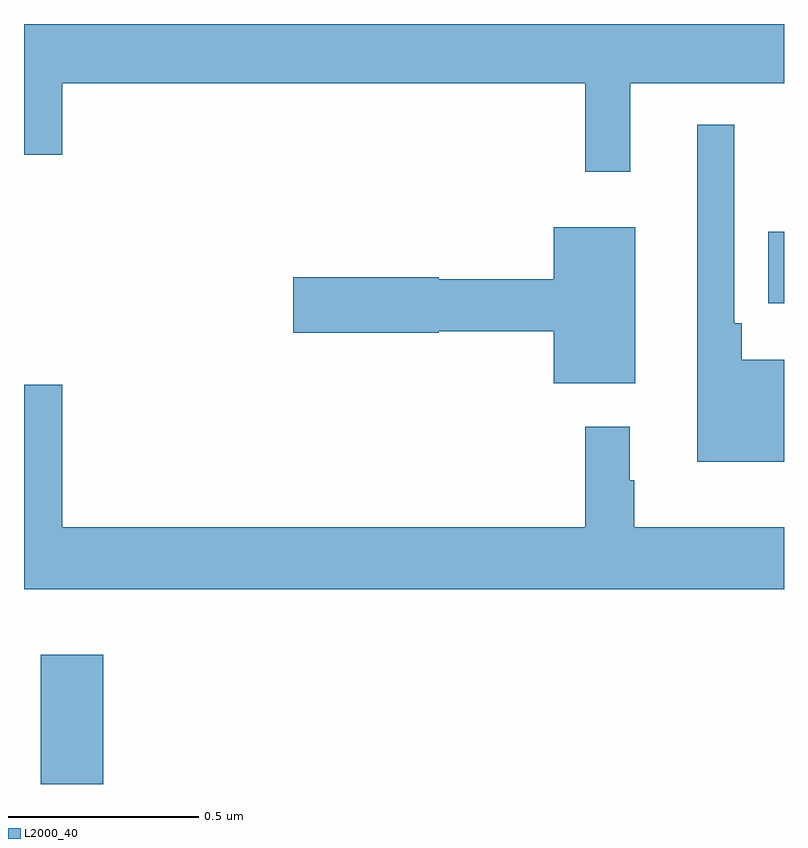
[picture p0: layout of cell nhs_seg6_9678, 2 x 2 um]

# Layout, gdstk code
import gdstk
lib = gdstk.Library(unit=1e-6, precision=1e-09)
def R(c, l, rs):  # rectangles x0, y0, x1, y1
    for r in rs: c.add(gdstk.rectangle(r[:2], r[2:], *l))
def P(c, l, *ps):  # polygons
    for p in ps: c.add(gdstk.Polygon(p, *l))
L2000_40 = (2000, 40)

nhs_seg6_9678 = lib.new_cell('nhs_seg6_9678')
R(nhs_seg6_9678, L2000_40, [(237.044,937.5,237.208,937.84), (238.958,938.765,239,938.953)])
P(nhs_seg6_9678, L2000_40, [(238.595,939.344),(239,939.344),(239,939.5),(237,939.5),(237,939.156),(237.1,939.156),(237.1,939.344),(238.477,939.344),(238.477,939.111),(238.595,939.111)],
  [(239,938.617),(238.889,938.617),(238.889,938.713),(238.869,938.713),(238.869,939.235),(238.772,939.235),(238.772,938.348),(239,938.348)],
  [(238.609,938.965),(238.394,938.965),(238.394,938.828),(238.092,938.828),(238.092,938.834),(237.708,938.834),(237.708,938.687),(238.092,938.687),(238.092,938.692),(238.394,938.692),(238.394,938.555),(238.609,938.555)],
  [(239,938.176),(238.606,938.176),(238.606,938.3),(238.594,938.3),(238.594,938.44),(238.477,938.44),(238.477,938.176),(237.1,938.176),(237.1,938.551),(237,938.551),(237,938.012),(239,938.012)])

lib.write_gds('nhs_seg6_9678.gds')
